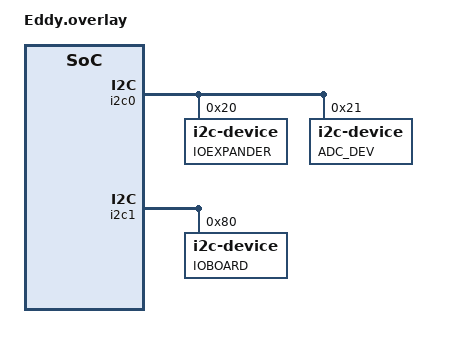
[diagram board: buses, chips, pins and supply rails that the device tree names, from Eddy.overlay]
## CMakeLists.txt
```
cmake_minimum_required(VERSION 3.20.0)
find_package(Zephyr REQUIRED HINTS $ENV{ZEPHYR_BASE})

project(GuitarFX)

target_sources(app PRIVATE src/main.c)
```

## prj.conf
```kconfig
CONFIG_GPIO=y
# CONFIG_I2S=y
CONFIG_I2C=y
CONFIG_I2C_TARGET=y
```

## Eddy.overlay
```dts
&i2c0 {
    ioexpander:nRF52840@20{
        compatible = "i2c-device"; //Raw I2C connection
        reg = < 0x20 >;
        label = "IOEXPANDER";
    };

    adc_dev:nRF52840@21{
        compatible = "i2c-device";
        reg = < 0x21 >;
        label = "ADC_DEV";
    }; 
};

&i2c1 {
    ioboard:nRF52840@80{
        compatible = "i2c-device";
        reg = < 0x80 >;
        label = "IOBOARD";
    };
};

&spi0 {										/* m */
	status = "disabled";					/* n */
};
```

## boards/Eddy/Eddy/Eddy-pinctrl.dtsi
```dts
&pinctrl {
//     i2s0_default: i2s0_default {
//         group1 {
//             psels = <NRF_PSEL(MCK, 0, 4)>;
// 	    };
//     };	

    i2c0_default: i2c0_default {
        group1 {
            psels = <NRF_PSEL(TWIM_SDA, 0, 8)>,
                <NRF_PSEL(TWIM_SCL, 0, 6)>;
        };
    };

    i2c0_sleep: i2c0_sleep {
        group1 {
            psels = <NRF_PSEL(TWIM_SDA, 0, 8)>,
                <NRF_PSEL(TWIM_SCL, 0, 6)>;
            low-power-enable;
        };
    };

    i2c1_default: i2c1_default {
		group1 {
			psels = <NRF_PSEL(TWIM_SDA, 0, 27)>,
				<NRF_PSEL(TWIM_SCL, 0, 26)>;
		};
	};

	i2c1_sleep: i2c1_sleep {
		group1 {
			psels = <NRF_PSEL(TWIM_SDA, 0, 27)>,
				<NRF_PSEL(TWIM_SCL, 0, 26)>;
			low-power-enable;
		};
	};
};
```

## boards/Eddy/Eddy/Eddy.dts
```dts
/dts-v1/;
#include <nordic/nrf52840_qiaa.dtsi>
#include "Eddy-pinctrl.dtsi"

/ {
	model = "Custom Board auto generated by nRF Connect for VS Code";
	compatible = "Eddy,Eddy";

	chosen {
		zephyr,sram = &sram0;
		zephyr,flash = &flash0;
		zephyr,code-partition = &slot0_partition;

		// zephyr,console = &uart0;
		// zephyr,shell-uart = &uart0;
		// zephyr,uart-mcumgr = &uart0;
		// zephyr,bt-mon-uart = &uart0;
		// zephyr,bt-c2h-uart = &uart0;
		zephyr,ieee802154 = &ieee802154;
	};

	leds {
		compatible = "gpio-leds";
		led0: led_0 {
			gpios = <&gpio0 29 GPIO_ACTIVE_LOW>;
			label = "Out 0";
		};
		led1: led_1 {
			gpios = <&gpio0 2 GPIO_ACTIVE_LOW>;
			label = "Out 1";
		};
	};

	aliases {
		led0 = &led0;
		led1 = &led1;
		// i2s-codec-rx = &i2s0;
		// i2s-codec-tx = &i2s1;
	};
};

&gpio0 {
	status = "okay";
};

&gpiote {
	status = "okay";
};

&i2c0 {
	compatible = "nordic,nrf-twi";
	status = "okay";
	pinctrl-0 = <&i2c0_default>;
	pinctrl-1 = <&i2c0_sleep>;
	pinctrl-names = "default", "sleep";
};

&i2c1 {
	compatible = "nordic,nrf-twi";
	/* status = "okay"; */
	pinctrl-0 = <&i2c1_default>;
	pinctrl-1 = <&i2c1_sleep>;
	pinctrl-names = "default", "sleep";
};

&ieee802154 {
	status = "okay";
};

&flash0 {
	partitions {
		compatible = "fixed-partitions";
		#address-cells = <1>;
		#size-cells = <1>;

		boot_partition: partition@0 {
			label = "mcuboot";
			reg = <0x00000000 DT_SIZE_K(48)>;
		};

		slot0_partition: partition@c000 {
			label = "image-0";
			reg = <0x0000c000 DT_SIZE_K(472)>;
		};

		slot1_partition: partition@82000 {
			label = "image-1";
			reg = <0x00082000 DT_SIZE_K(472)>;
		};

		storage_partition: partition@f8000 {
			label = "storage";
			reg = <0x000f8000 DT_SIZE_K(32)>;
		};
	};
};

// &i2s0 {
// 	// mck-enabled;
// 	status = "okay";
// 	pinctrl-0 = <&i2s0_default>;
// 	pinctrl-names = "default";
// 	// Specify clock source?
// };
```

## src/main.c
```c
/*
* Copyright (c) 2016 Intel Corporation
*
* SPDX-License-Identifier: Apache-2.0
*/

#include <stdio.h>
#include <zephyr/kernel.h>
#include <zephyr/drivers/gpio.h>
#include <zephyr/drivers/i2c.h>

#define SLEEP_TIME_MS   10

#define LED0_NODE DT_ALIAS(led0)
#define LED1_NODE DT_ALIAS(led1)

#define IOEXPANDER_DEV DT_NODELABEL(ioexpander)
#define ADC_DEV DT_NODELABEL(adc_dev)

static const struct gpio_dt_spec led0 = GPIO_DT_SPEC_GET(LED0_NODE, gpios);
static const struct gpio_dt_spec led1 = GPIO_DT_SPEC_GET(LED1_NODE, gpios);

static const struct i2c_dt_spec ioexpander_dev = I2C_DT_SPEC_GET(IOEXPANDER_DEV);
static const struct i2c_dt_spec adc_dev = I2C_DT_SPEC_GET(ADC_DEV);

static const struct device *ioboard = DEVICE_DT_GET(DT_NODELABEL(ioboard));
static uint8_t target_din;
static uint8_t target_dout;

int target_wreq_cb(struct i2c_target_config *config) {
        return 0;
}

int target_wrec_cb(struct i2c_target_config *config, uint8_t val) {
        target_din = val;
        return 0;
}

int target_rreq_cb(struct i2c_target_config *config, uint8_t *val) {
        *val = target_dout;
        return 0;
}

int target_rpro_cb(struct i2c_target_config *config, uint8_t *val) {
        *val = target_dout; // Value returned on repeated reads... modify if data available exceeds a byte
        return 0;
}

int target_stop_cb(struct i2c_target_config *config) {
        return 0;
}

static struct i2c_target_callbacks target_callbacks = {
        .write_requested = target_wreq_cb,
        .write_received = target_wrec_cb,
	.read_requested = target_rreq_cb,
	.read_processed = target_rpro_cb,
	.stop = target_stop_cb,
};

int main(void)
{
        uint8_t ret;
        uint8_t data_io = 0x00;
        uint8_t data_zero = 0x00;
        uint8_t data_io_old = 0x00;

        if (!gpio_is_ready_dt(&led0)) {
                return 1;
        }
        if (!gpio_is_ready_dt(&led1)) {
                return 1;
        }
        if (!device_is_ready(ioexpander_dev.bus)) {
                return 1;
        }
        if (!device_is_ready(adc_dev.bus)) {
                return 1;
        }

        ret = gpio_pin_configure_dt(&led0, GPIO_OUTPUT_ACTIVE);
        if (ret < 0) {
                return 0;
        }

        ret = gpio_pin_configure_dt(&led1, GPIO_OUTPUT_ACTIVE);
        if (ret < 0) {
                return 0;
        }

        // Initialize ADC 
        uint8_t data_adc[2] = {0x00, 0x08};
        uint8_t* data_adc_addr = data_adc;
        ret = i2c_burst_write_dt(&adc_dev, 0x82, data_adc_addr, 2);
        if (ret != 0) {
                return 1;
        }

        ret = i2c_read_dt(&ioexpander_dev, &data_zero, sizeof(data_zero));
        if(ret != 0){
                return 1;
        }

        struct i2c_target_config target_cfg = {
                .address = 0x60,
                .callbacks = &target_callbacks,
        };

        // Register I2C target device
        // if(i2c_target_register(ioboard, &target_cfg) < 0) {
        //         return 1;
        // }
                                        /* MAIN LOOP */
        while (1) {
                ret = i2c_read_dt(&ioexpander_dev, &data_io, sizeof(data_io));
                if(ret != 0){
                        return 1;
                }

                ret = i2c_burst_read_dt(&adc_dev, 0x80, data_adc_addr, 2);
                if(ret != 0){
                        return 1;
                }

                if((data_adc[0] & 0x3F) > 0x01) {
                        gpio_pin_set_dt(&led1, 1);
                } else {
                        gpio_pin_set_dt(&led1, 0);
                }

                if(data_io != data_io_old && data_io != data_zero) {
                        ret = gpio_pin_toggle_dt(&led0);
                        if (ret < 0) {
                                return 1;
                        }
                }
                data_io_old = data_io;
                k_msleep(SLEEP_TIME_MS);
        }
        return 0;
}
 
```
